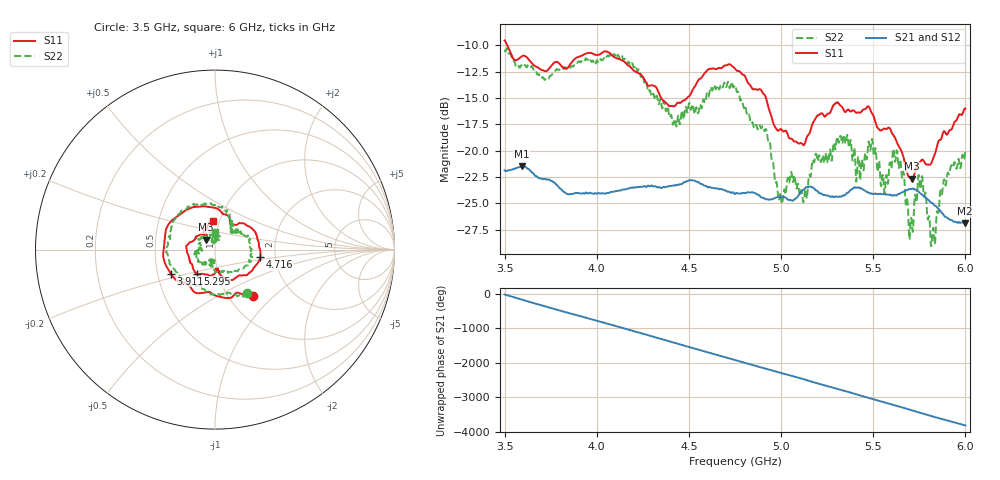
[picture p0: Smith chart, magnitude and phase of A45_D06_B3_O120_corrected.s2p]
! Created with skrf 1.9.0 (http://scikit-rf.org).
# Hz S RI R 50.0
!freq ReS11 ImS11 ReS21 ImS21 ReS12 ImS12 ReS22 ImS22
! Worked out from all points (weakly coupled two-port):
!   1601 points, 3.5 GHz to 6 GHz, reference 50 ohm
!   highest |S21| = -21.48 dB at 3.592 GHz (marker M1); lowest = -26.9 dB at 5.995 GHz (marker M2)
!   lowest |S11| = -22.6 dB at 5.711 GHz (marker M3), VSWR 1.16, Z = 45 + j4.94 ohm
!   |S11| at or under -10 dB: 3.514 GHz to end of sweep
!   |S22| runs from -29.0 to -10.3 dB; largest |S21 - S12| = 0.00092
!   S11 on the Smith chart (normalised r, x): 3.5 GHz: 1.29, -0.75; 3.911 GHz: 0.59, -0.17; 4.716 GHz: 1.67, -0.15; 5.295 GHz: 0.79, -0.22; 6 GHz: 0.93, +0.30
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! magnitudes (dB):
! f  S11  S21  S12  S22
! 3.5 GHz  -9.6  -21.9  -21.8  -10.4
! 3.592 GHz  -11.1  -21.5  -21.5  -11.9
! 3.911 GHz  -11.1  -24.0  -24.0  -11.6
! 3.917 GHz  -11.0  -24.1  -24.0  -11.5
! 4.144 GHz  -11.5  -23.7  -23.7  -11.4
! 4.334 GHz  -14.4  -23.5  -23.4  -15.5
! 4.423 GHz  -15.8  -23.3  -23.3  -17.0
! 4.716 GHz  -11.8  -23.9  -23.9  -13.8
! 4.75 GHz  -12.2  -24.1  -24.0  -13.8
! 4.927 GHz  -15.6  -24.6  -24.6  -18.7
! 4.995 GHz  -18.0  -24.3  -24.3  -24.0
! 5.13 GHz  -19.3  -23.6  -23.6  -23.8
! 5.167 GHz  -17.6  -23.5  -23.4  -21.3
! 5.295 GHz  -15.5  -24.3  -24.3  -19.8
! 5.584 GHz  -17.8  -24.2  -24.1  -22.1
! 5.638 GHz  -19.6  -24.1  -24.0  -21.6
! 5.711 GHz  -22.6  -23.6  -23.5  -27.1
! 5.756 GHz  -21.0  -24.1  -24.0  -23.6
! 5.825 GHz  -20.7  -25.0  -25.0  -27.3
! 5.875 GHz  -18.5  -25.9  -25.9  -23.9
! 5.995 GHz  -16.0  -26.9  -26.8  -20.6
! 6 GHz  -16.0  -26.9  -26.8  -20.0
